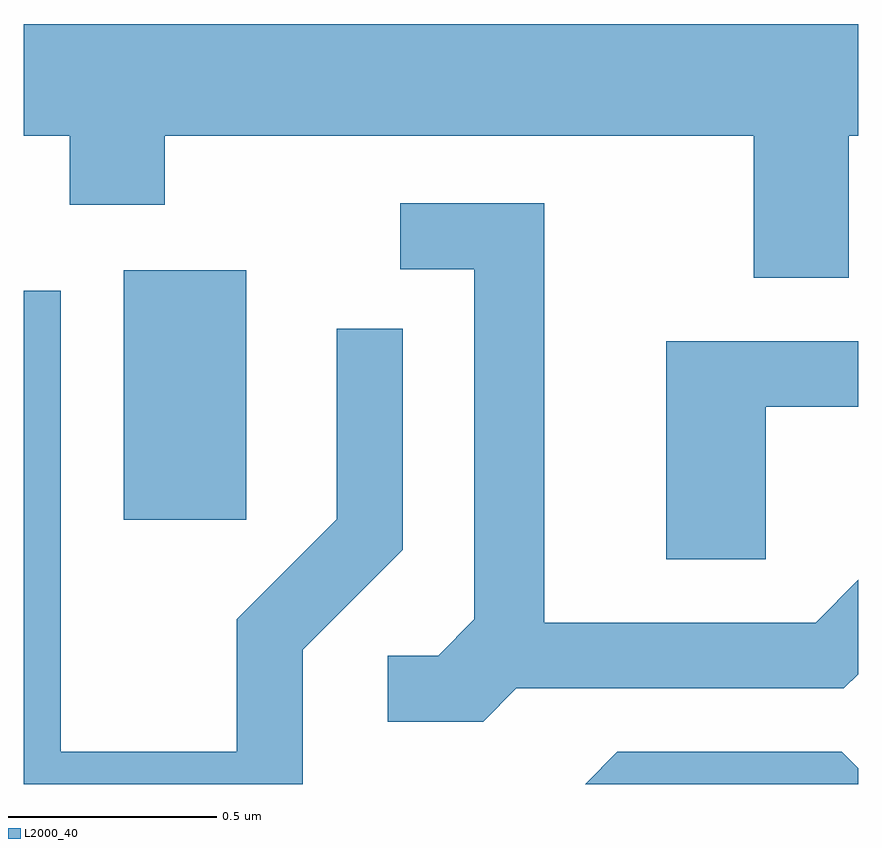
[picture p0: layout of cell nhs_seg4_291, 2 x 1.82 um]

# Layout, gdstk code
import gdstk
lib = gdstk.Library(unit=1e-6, precision=1e-09)
def R(c, l, rs):  # rectangles x0, y0, x1, y1
    for r in rs: c.add(gdstk.rectangle(r[:2], r[2:], *l))
def P(c, l, *ps):  # polygons
    for p in ps: c.add(gdstk.Polygon(p, *l))
L2000_40 = (2000, 40)

nhs_seg4_291 = lib.new_cell('nhs_seg4_291')
R(nhs_seg4_291, L2000_40, [(187.851,1271.616,188.144,1272.214)])
P(nhs_seg4_291, L2000_40, [(189.589,1272.536),(189.611,1272.536),(189.611,1272.804),(187.611,1272.804),(187.611,1272.536),(187.721,1272.536),(187.721,1272.371),(187.949,1272.371),(187.949,1272.536),(189.361,1272.536),(189.361,1272.196),(189.589,1272.196)],
  [(188.792,1271.211),(189.577,1271.211),(189.611,1271.245),(189.611,1271.472),(189.509,1271.369),(188.859,1271.369),(188.859,1272.374),(188.513,1272.374),(188.513,1272.216),(188.691,1272.216),(188.691,1271.377),(188.604,1271.289),(188.483,1271.289),(188.483,1271.131),(188.712,1271.131)],
  [(188.279,1271.304),(188.519,1271.544),(188.519,1272.073),(188.361,1272.073),(188.361,1271.617),(188.121,1271.377),(188.121,1271.059),(187.699,1271.059),(187.699,1272.164),(187.611,1272.164),(187.611,1270.982),(188.279,1270.982)],
  [(189.389,1271.886),(189.611,1271.886),(189.611,1272.044),(189.151,1272.044),(189.151,1271.521),(189.389,1271.521)],
  [(189.611,1271.02),(189.572,1271.059),(189.034,1271.059),(188.957,1270.982),(189.611,1270.982)])

lib.write_gds('nhs_seg4_291.gds')
